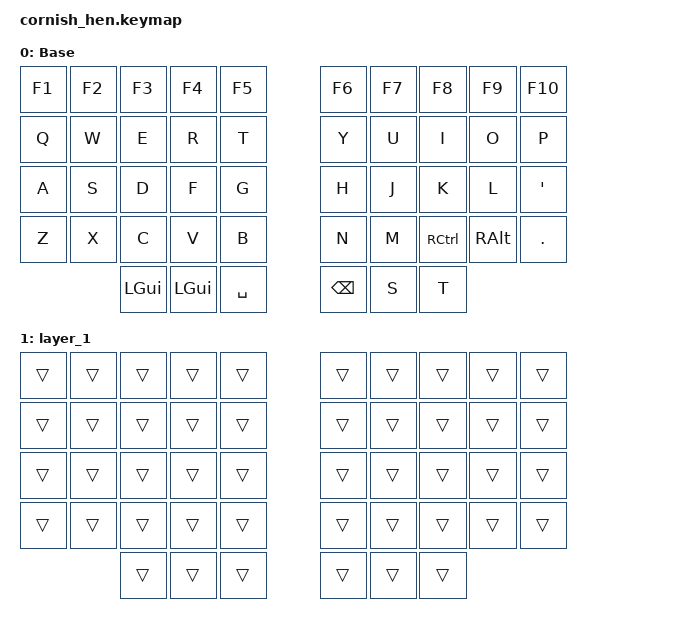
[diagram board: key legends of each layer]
#include <behaviors.dtsi>
#include <dt-bindings/zmk/keys.h>

/ {
    keymap {
        compatible = "zmk,keymap";

        default_layer {
            display-name = "Base";
            bindings = <
&kp F1  &kp F2  &kp F3    &kp F4    &kp F5     &kp F6    &kp F7  &kp F8     &kp F9    &kp F10
&kp Q   &kp W   &kp E     &kp R     &kp T      &kp Y     &kp U   &kp I      &kp O     &kp P
&kp A   &kp S   &kp D     &kp F     &kp G      &kp H     &kp J   &kp K      &kp L     &kp APOS
&kp Z   &kp X   &kp C     &kp V     &kp B      &kp N     &kp M   &kp RCTRL  &kp RALT  &kp DOT
                &kp LGUI  &kp LGUI  &kp SPACE  &kp BSPC  &kp S   &kp T
            >;
        };

        layer_1 {
            bindings = <
&trans  &trans  &trans  &trans  &trans  &trans  &trans  &trans  &trans  &trans
&trans  &trans  &trans  &trans  &trans  &trans  &trans  &trans  &trans  &trans
&trans  &trans  &trans  &trans  &trans  &trans  &trans  &trans  &trans  &trans
&trans  &trans  &trans  &trans  &trans  &trans  &trans  &trans  &trans  &trans
                &trans  &trans  &trans  &trans  &trans  &trans
            >;
        };
    };
};
